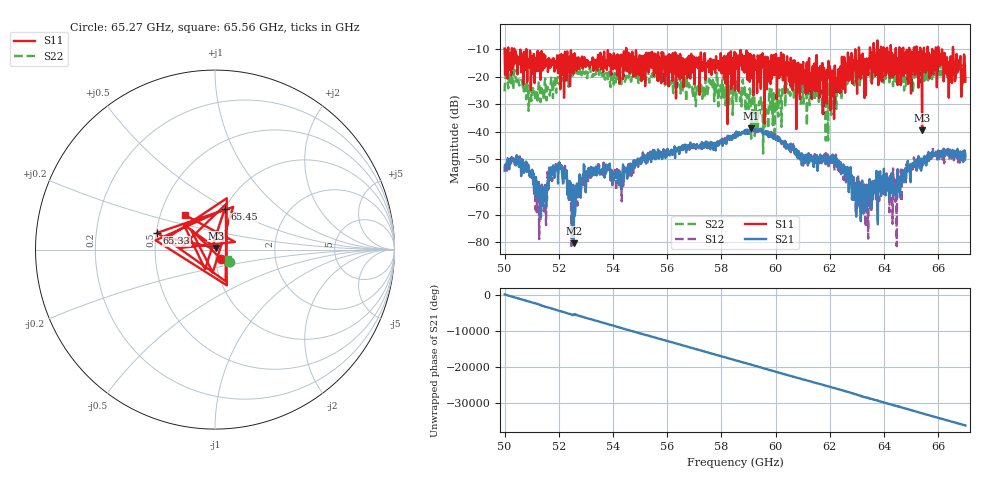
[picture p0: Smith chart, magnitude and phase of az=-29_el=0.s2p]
!Created with skrf (http://scikit-rf.org).
# GHz S RI R 50.0
!freq ReS11 ImS11 ReS21 ImS21 ReS12 ImS12 ReS22 ImS22
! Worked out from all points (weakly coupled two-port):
!   1001 points, 50 GHz to 67 GHz, reference 50 ohm
!   highest |S21| = -38.79 dB at 59.08 GHz (marker M1); lowest = -80.4 dB at 52.55 GHz (marker M2)
!   lowest |S11| = -39.5 dB at 65.4 GHz (marker M3), VSWR 1.02, Z = 50.6 + j0.872 ohm
!   |S11| at or under -10 dB: 50.8 GHz to 54.49 GHz (3.687 GHz wide, 7 % of centre); 54.49 GHz to 63.07 GHz (8.581 GHz wide, 14.6 % of centre); 66 GHz to 66.54 GHz (533.9 MHz wide, 0.806 % of centre) (the widest 3 of 29)
!   |S22| runs from -47.9 to -14.0 dB; largest |S21 - S12| = 0.0022
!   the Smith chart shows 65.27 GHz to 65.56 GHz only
!   S11 on the Smith chart (normalised r, x): 65.27 GHz: 1.07, -0.11; 65.33 GHz: 0.51, +0.11; 65.45 GHz: 1.00, +0.47; 65.56 GHz: 0.67, +0.28
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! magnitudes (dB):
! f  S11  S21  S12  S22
! 50 GHz  -9.9  -54.1  -53.2  -25.4
! 50.59 GHz  -13.1  -50.6  -52.1  -22.4
! 51.36 GHz  -10.7  -60.9  -63.2  -24.2
! 52.02 GHz  -12.2  -53.0  -51.1  -23.0
! 52.55 GHz  -18.9  -80.4  -64.8  -18.6
! 52.84 GHz  -13.5  -59.0  -57.1  -19.5
! 54.27 GHz  -12.2  -58.9  -56.5  -21.6
! 55.68 GHz  -13.5  -47.4  -46.9  -21.7
! 58.5 GHz  -25.0  -41.8  -40.5  -23.9
! 59.08 GHz  -13.6  -38.8  -38.8  -31.7
! 59.61 GHz  -12.9  -40.7  -40.8  -38.1
! 61.34 GHz  -28.2  -49.6  -49.3  -25.6
! 61.88 GHz  -29.8  -49.6  -50.3  -23.6
! 62.72 GHz  -13.1  -56.9  -54.6  -20.5
! 63.26 GHz  -13.6  -62.6  -60.4  -18.0
! 64.18 GHz  -19.4  -61.3  -60.7  -18.8
! 65.27 GHz  -24.0  -48.7  -51.3  -19.2
! 65.33 GHz  -9.5  -52.4  -50.5  -18.9
! 65.4 GHz  -39.5  -49.7  -50.9  -20.2
! 65.45 GHz  -12.7  -50.5  -49.5  -17.7
! 65.56 GHz  -11.8  -52.2  -50.8  -20.9
! 67 GHz  -21.8  -48.0  -48.5  -15.6
